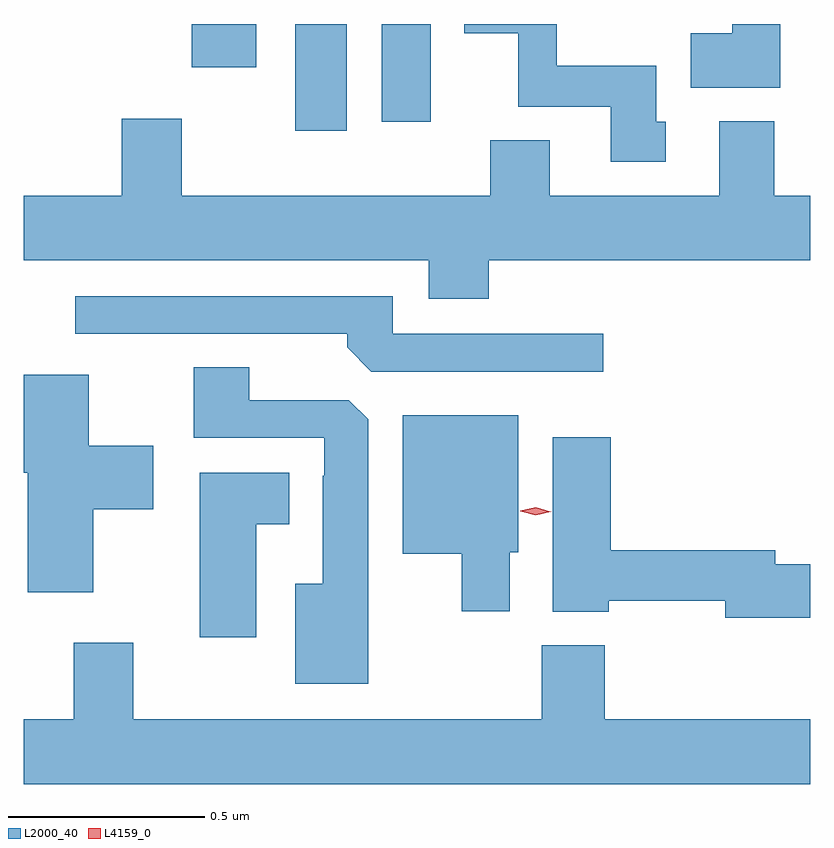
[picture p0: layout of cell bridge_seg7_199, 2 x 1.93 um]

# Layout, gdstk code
import gdstk
lib = gdstk.Library(unit=1e-6, precision=1e-09)
def R(c, l, rs):  # rectangles x0, y0, x1, y1
    for r in rs: c.add(gdstk.rectangle(r[:2], r[2:], *l))
def P(c, l, *ps):  # polygons
    for p in ps: c.add(gdstk.Polygon(p, *l))
L2000_40 = (2000, 40)
L4159_0 = (4159, 0)

bridge_seg7_199 = lib.new_cell('bridge_seg7_199')
R(bridge_seg7_199, L2000_40, [(402.014,1016.928,402.145,1017.2), (402.233,1016.952,402.358,1017.2), (401.75,1017.09,401.914,1017.2)])
P(bridge_seg7_199, L2000_40, [(403.246,1017.2),(403.124,1017.2),(403.124,1017.176),(403.019,1017.176),(403.019,1017.038),(403.246,1017.038)],
  [(402.955,1016.952),(402.931,1016.952),(402.931,1017.094),(402.678,1017.094),(402.678,1017.2),(402.443,1017.2),(402.443,1017.176),(402.58,1017.176),(402.58,1016.99),(402.815,1016.99),(402.815,1016.85),(402.955,1016.85)],
  [(402.506,1016.6),(403.323,1016.6),(403.323,1016.764),(403.231,1016.764),(403.231,1016.953),(403.091,1016.953),(403.091,1016.764),(402.661,1016.764),(402.661,1016.905),(402.509,1016.905),(402.509,1016.764),(401.725,1016.764),(401.725,1016.959),(401.573,1016.959),(401.573,1016.764),(401.323,1016.764),(401.323,1016.6),(402.353,1016.6),(402.353,1016.501),(402.506,1016.501)],
  [(402.796,1016.412),(402.261,1016.412),(402.261,1016.508),(401.454,1016.508),(401.454,1016.412),(402.146,1016.412),(402.146,1016.378),(402.207,1016.316),(402.796,1016.316)],
  [(402.199,1016.195),(402.15,1016.244),(401.896,1016.244),(401.896,1016.327),(401.756,1016.327),(401.756,1016.148),(402.087,1016.148),(402.087,1016.051),(402.083,1016.051),(402.083,1015.777),(402.014,1015.777),(402.014,1015.523),(402.199,1015.523)],
  [(401.5,1015.966),(401.653,1015.966),(401.653,1016.128),(401.488,1016.128),(401.488,1016.308),(401.323,1016.308),(401.323,1016.059),(401.333,1016.059),(401.333,1015.755),(401.5,1015.755)],
  [(402.559,1015.857),(402.58,1015.857),(402.58,1016.206),(402.287,1016.206),(402.287,1015.853),(402.437,1015.853),(402.437,1015.707),(402.559,1015.707)],
  [(403.323,1015.826),(403.234,1015.826),(403.234,1015.862),(402.815,1015.862),(402.815,1016.149),(402.668,1016.149),(402.668,1015.706),(402.81,1015.706),(402.81,1015.734),(403.106,1015.734),(403.106,1015.691),(403.323,1015.691)],
  [(401.914,1015.928),(401.998,1015.928),(401.998,1016.059),(401.771,1016.059),(401.771,1015.641),(401.914,1015.641)],
  [(403.323,1015.432),(402.8,1015.432),(402.8,1015.621),(402.64,1015.621),(402.64,1015.432),(401.602,1015.432),(401.602,1015.627),(401.45,1015.627),(401.45,1015.432),(401.323,1015.432),(401.323,1015.268),(403.323,1015.268)])
P(bridge_seg7_199, L4159_0, [(402.625,1015.951),(402.586,1015.961),(402.586,1015.962),(402.586,1015.962),(402.625,1015.971),(402.663,1015.96),(402.664,1015.96),(402.663,1015.96)])

lib.write_gds('bridge_seg7_199.gds')
